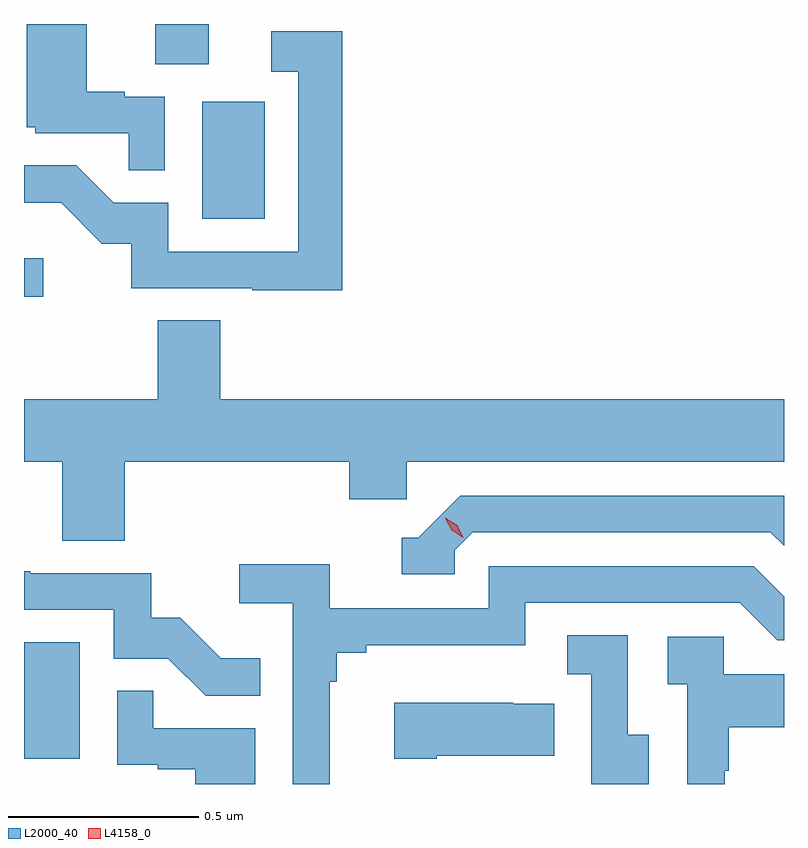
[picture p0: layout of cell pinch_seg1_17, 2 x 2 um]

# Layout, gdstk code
import gdstk
lib = gdstk.Library(unit=1e-6, precision=1e-09)
def R(c, l, rs):  # rectangles x0, y0, x1, y1
    for r in rs: c.add(gdstk.rectangle(r[:2], r[2:], *l))
def P(c, l, *ps):  # polygons
    for p in ps: c.add(gdstk.Polygon(p, *l))
L2000_40 = (2000, 40)
L4158_0 = (4158, 0)

pinch_seg1_17 = lib.new_cell('pinch_seg1_17')
R(pinch_seg1_17, L2000_40, [(1119.937,574.926,1120.084,575.233), (1119.937,576.142,1119.988,576.244), (1120.406,576.348,1120.57,576.655), (1120.283,576.754,1120.423,576.86)])
P(pinch_seg1_17, L2000_40, [(1120.308,576.669),(1120.202,576.669),(1120.202,576.682),(1120.102,576.682),(1120.102,576.86),(1119.944,576.86),(1119.944,576.588),(1119.966,576.588),(1119.966,576.573),(1120.213,576.573),(1120.213,576.475),(1120.308,576.475)],
  [(1120.775,576.841),(1120.587,576.841),(1120.587,576.735),(1120.659,576.735),(1120.659,576.261),(1120.317,576.261),(1120.317,576.39),(1120.173,576.39),(1120.075,576.488),(1119.937,576.488),(1119.937,576.389),(1120.035,576.389),(1120.142,576.282),(1120.219,576.282),(1120.219,576.165),(1120.537,576.165),(1120.537,576.16),(1120.775,576.16)],
  [(1120.202,575.708),(1120.793,575.708),(1120.793,575.61),(1120.944,575.61),(1120.944,575.708),(1121.937,575.708),(1121.937,575.872),(1120.454,575.872),(1120.454,576.08),(1120.289,576.08),(1120.289,575.872),(1119.937,575.872),(1119.937,575.708),(1120.037,575.708),(1120.037,575.5),(1120.202,575.5)],
  [(1121.07,575.475),(1121.118,575.523),(1121.901,575.523),(1121.937,575.487),(1121.937,575.619),(1121.085,575.619),(1120.974,575.508),(1120.931,575.508),(1120.931,575.412),(1121.07,575.412)],
  [(1120.741,575.129),(1120.76,575.129),(1120.76,575.206),(1120.837,575.206),(1120.837,575.225),(1121.256,575.225),(1121.256,575.337),(1121.82,575.337),(1121.919,575.238),(1121.937,575.238),(1121.937,575.353),(1121.857,575.433),(1121.16,575.433),(1121.16,575.322),(1120.742,575.322),(1120.742,575.438),(1120.503,575.438),(1120.503,575.336),(1120.644,575.336),(1120.644,574.86),(1120.741,574.86)],
  [(1120.559,575.191),(1120.455,575.191),(1120.348,575.298),(1120.272,575.298),(1120.272,575.415),(1119.953,575.415),(1119.953,575.42),(1119.937,575.42),(1119.937,575.319),(1120.173,575.319),(1120.173,575.19),(1120.317,575.19),(1120.415,575.092),(1120.559,575.092)],
  [(1121.581,574.989),(1121.526,574.989),(1121.526,575.252),(1121.367,575.252),(1121.367,575.149),(1121.43,575.149),(1121.43,574.86),(1121.581,574.86)],
  [(1121.781,574.895),(1121.791,574.895),(1121.791,575.009),(1121.937,575.009),(1121.937,575.149),(1121.778,575.149),(1121.778,575.247),(1121.631,575.247),(1121.631,575.123),(1121.682,575.123),(1121.682,574.86),(1121.781,574.86)],
  [(1120.546,575.007),(1120.277,575.007),(1120.277,575.105),(1120.182,575.105),(1120.182,574.911),(1120.289,574.911),(1120.289,574.899),(1120.388,574.899),(1120.388,574.86),(1120.546,574.86)],
  [(1121.023,574.934),(1121.333,574.934),(1121.333,575.071),(1121.225,575.071),(1121.225,575.074),(1120.911,575.074),(1120.911,574.927),(1121.023,574.927)])
P(pinch_seg1_17, L4158_0, [(1121.093,575.508),(1121.062,575.528),(1121.046,575.56),(1121.046,575.561),(1121.046,575.561),(1121.077,575.541),(1121.093,575.509),(1121.093,575.508)])

lib.write_gds('pinch_seg1_17.gds')
